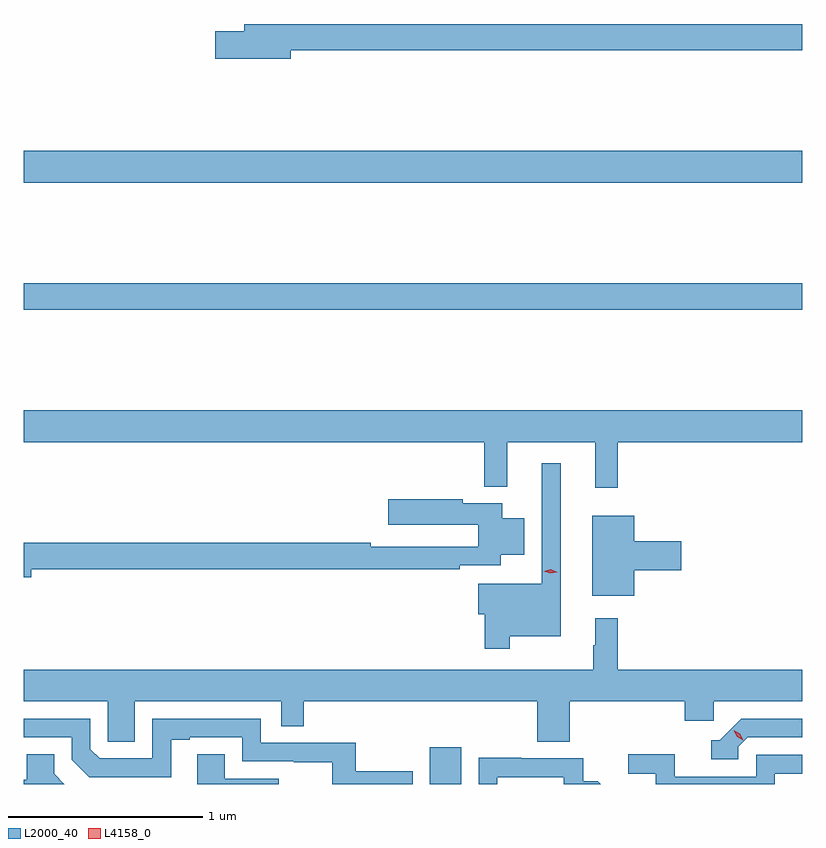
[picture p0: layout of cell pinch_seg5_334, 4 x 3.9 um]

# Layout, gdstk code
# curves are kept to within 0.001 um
import gdstk
lib = gdstk.Library(unit=1e-6, precision=1e-09)
def R(c, l, rs):  # rectangles x0, y0, x1, y1
    for r in rs: c.add(gdstk.rectangle(r[:2], r[2:], *l))
def P(c, l, *ps):  # polygons
    for p in ps: c.add(gdstk.Polygon(p, *l))
L2000_40 = (2000, 40)
L4158_0 = (4158, 0)

pinch_seg5_334 = lib.new_cell('pinch_seg5_334')
R(pinch_seg5_334, L2000_40, [(911.693,884.308,911.854,884.497), (909.606,886.744,913.606,886.88), (909.606,887.396,913.606,887.56)])
P(pinch_seg5_334, L2000_40, [(910.978,888.076),(913.606,888.076),(913.606,888.212),(910.739,888.212),(910.739,888.176),(910.59,888.176),(910.59,888.034),(910.978,888.034)],
  [(912.659,886.064),(913.606,886.064),(913.606,886.228),(909.606,886.228),(909.606,886.064),(911.971,886.064),(911.971,885.836),(912.089,885.836),(912.089,886.064),(912.542,886.064),(912.542,885.831),(912.659,885.831)],
  [(912.103,885.068),(912.364,885.068),(912.364,885.955),(912.267,885.955),(912.267,885.337),(911.94,885.337),(911.94,885.179),(911.974,885.179),(911.974,885.003),(912.103,885.003)],
  [(909.646,885.412),(911.846,885.412),(911.846,885.432),(912.058,885.432),(912.058,885.485),(912.178,885.485),(912.178,885.673),(912.064,885.673),(912.064,885.751),(911.862,885.751),(911.862,885.771),(911.478,885.771),(911.478,885.641),(911.942,885.641),(911.942,885.528),(911.39,885.528),(911.39,885.548),(909.606,885.548),(909.606,885.37),(909.646,885.37)],
  [(912.742,885.407),(912.985,885.407),(912.985,885.554),(912.742,885.554),(912.742,885.685),(912.527,885.685),(912.527,885.275),(912.742,885.275)],
  [(910.177,884.732),(910.929,884.732),(910.929,884.605),(911.045,884.605),(911.045,884.732),(912.245,884.732),(912.245,884.524),(912.41,884.524),(912.41,884.732),(913.001,884.732),(913.001,884.634),(913.152,884.634),(913.152,884.732),(913.606,884.732),(913.606,884.896),(912.659,884.896),(912.659,885.16),(912.542,885.16),(912.542,885.02),(912.531,885.02),(912.531,884.896),(909.606,884.896),(909.606,884.732),(910.038,884.732),(910.038,884.524),(910.177,884.524)],
  [(913.278,884.499),(913.326,884.547),(913.606,884.547),(913.606,884.643),(913.293,884.643),(913.182,884.532),(913.139,884.532),(913.139,884.436),(913.278,884.436)],
  [(911.604,884.374),(911.311,884.374),(911.311,884.52),(910.824,884.52),(910.824,884.643),(910.266,884.643),(910.266,884.439),(909.996,884.439),(909.948,884.487),(909.948,884.643),(909.606,884.643),(909.606,884.547),(909.852,884.547),(909.852,884.433),(909.942,884.343),(910.363,884.342),(910.363,884.535),(910.459,884.535),(910.459,884.547),(910.728,884.547),(910.728,884.424),(910.993,884.424),(910.993,884.419),(911.19,884.419),(911.19,884.308),(911.604,884.308)],
  [(909.763,884.36),(909.763,884.462),(909.623,884.462),(909.623,884.33),(909.606,884.33),(909.606,884.308),(909.815,884.308)],
  [(913.464,884.361),(913.606,884.361),(913.606,884.457),(913.368,884.457),(913.368,884.346),(912.95,884.346),(912.95,884.462),(912.711,884.462),(912.711,884.36),(912.852,884.36),(912.852,884.308),(913.464,884.308)],
  [(910.916,884.334),(910.639,884.334),(910.639,884.462),(910.499,884.462),(910.499,884.308),(910.916,884.308)],
  [(912.039,884.343),(912.381,884.343),(912.381,884.308),(912.57,884.308),(912.556,884.322),(912.48,884.322),(912.48,884.439),(912.161,884.439),(912.161,884.444),(911.943,884.444),(911.943,884.308),(912.039,884.308)])
P(pinch_seg5_334, L4158_0, [(913.302,884.533),(913.271,884.552),(913.254,884.584),(913.254,884.584),(913.254,884.584),(913.285,884.566),(913.302,884.533),(913.302,884.533)],
  [(912.312,885.39),(912.277,885.402),(912.277,885.402),(912.277,885.402),(912.314,885.41),(912.348,885.397),(912.348,885.397),(912.348,885.397)])

lib.write_gds('pinch_seg5_334.gds')
